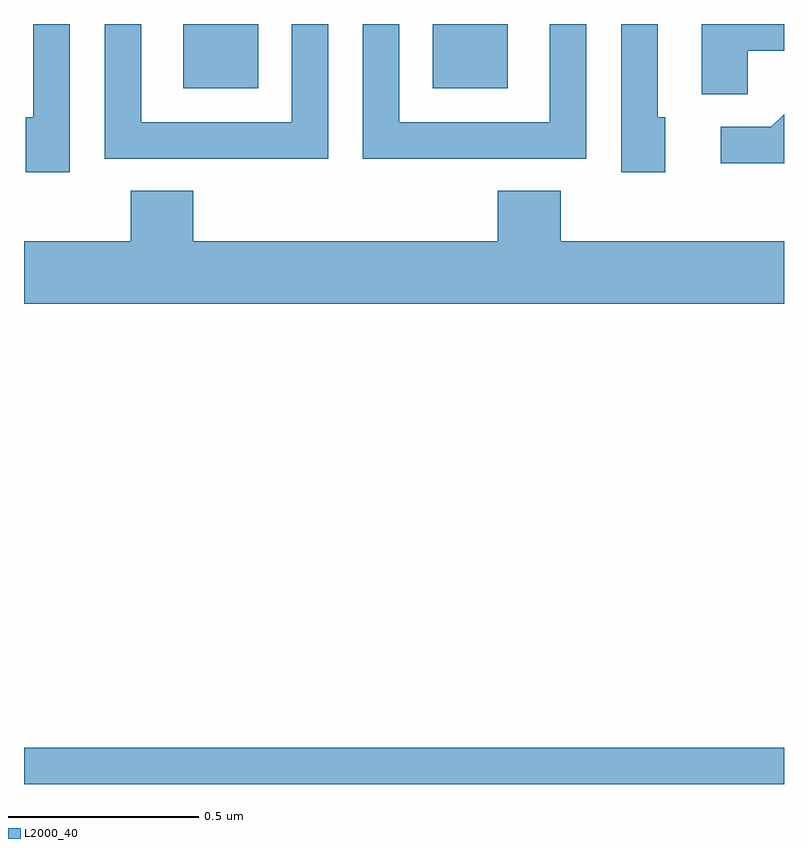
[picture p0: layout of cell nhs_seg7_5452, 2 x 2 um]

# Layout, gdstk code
import gdstk
lib = gdstk.Library(unit=1e-6, precision=1e-09)
def R(c, l, rs):  # rectangles x0, y0, x1, y1
    for r in rs: c.add(gdstk.rectangle(r[:2], r[2:], *l))
def P(c, l, *ps):  # polygons
    for p in ps: c.add(gdstk.Polygon(p, *l))
L2000_40 = (2000, 40)

nhs_seg7_5452 = lib.new_cell('nhs_seg7_5452')
R(nhs_seg7_5452, L2000_40, [(186,1018,188,1018.096), (186.419,1019.831,186.616,1020), (187.076,1019.831,187.273,1020)])
P(nhs_seg7_5452, L2000_40, [(187.163,1019.646),(187.479,1019.646),(187.479,1020),(187.383,1020),(187.383,1019.742),(186.987,1019.742),(186.987,1020),(186.891,1020),(186.891,1019.645),(187.163,1019.645)],
  [(187.905,1019.93),(188,1019.93),(188,1020),(187.784,1020),(187.784,1019.815),(187.905,1019.815)],
  [(187.687,1019.754),(187.668,1019.754),(187.668,1020),(187.572,1020),(187.572,1019.61),(187.687,1019.61)],
  [(186.801,1020),(186.705,1020),(186.705,1019.742),(186.309,1019.742),(186.309,1020),(186.213,1020),(186.213,1019.646),(186.529,1019.646),(186.529,1019.645),(186.801,1019.645)],
  [(186.12,1020),(186.024,1020),(186.024,1019.754),(186.005,1019.754),(186.005,1019.61),(186.12,1019.61)],
  [(188,1019.763),(187.967,1019.73),(187.833,1019.73),(187.833,1019.633),(188,1019.633)],
  [(188,1019.428),(187.412,1019.428),(187.412,1019.561),(187.247,1019.561),(187.247,1019.428),(186.446,1019.428),(186.446,1019.561),(186.281,1019.561),(186.281,1019.428),(186,1019.428),(186,1019.264),(188,1019.264)])

lib.write_gds('nhs_seg7_5452.gds')
